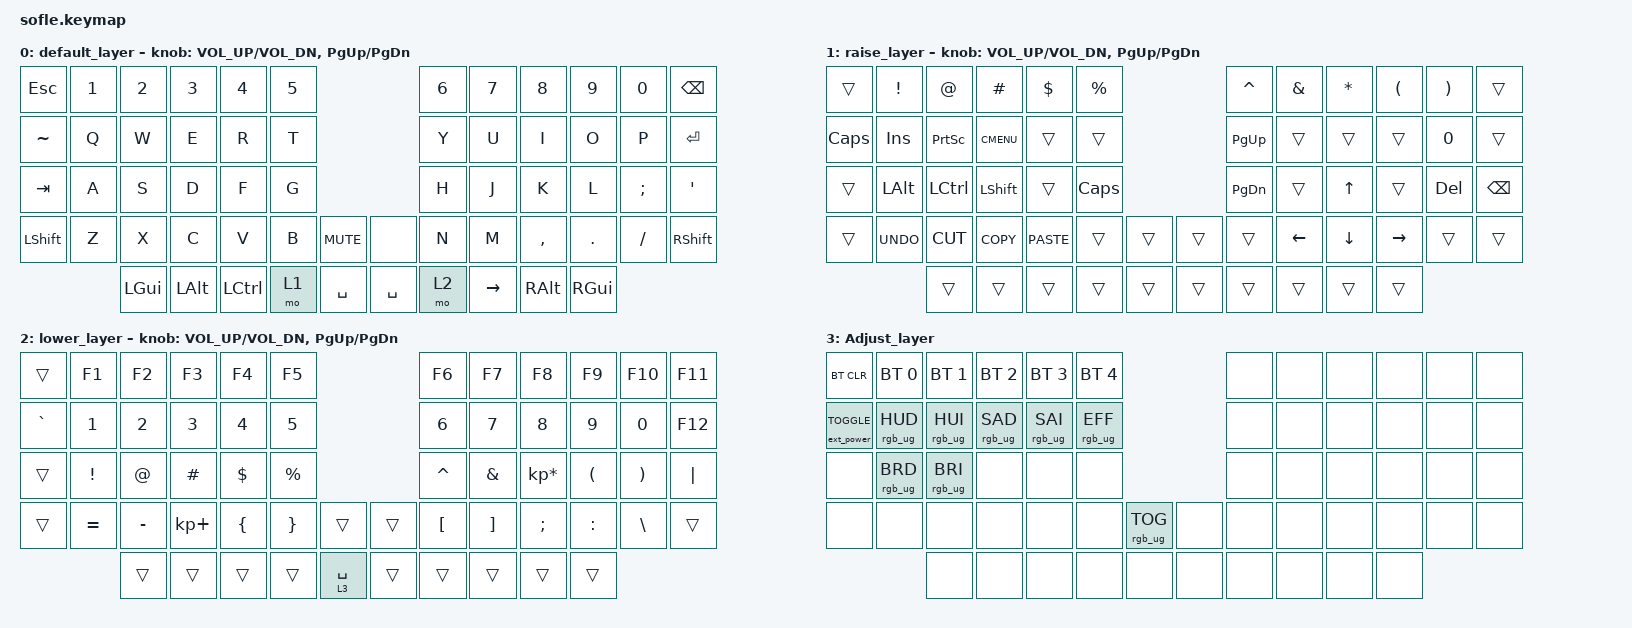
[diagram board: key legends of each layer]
/*
 * Copyright (c) 2020 The ZMK Contributors
 *
 * SPDX-License-Identifier: MIT
 */

#include <behaviors.dtsi>
#include <dt-bindings/zmk/bt.h>
#include <dt-bindings/zmk/ext_power.h>
#include <dt-bindings/zmk/keys.h>
#include <dt-bindings/zmk/rgb.h>

#define BASE 0
#define LOWER 1
#define RAISE 2
#define ADJUST 3

/ {
    // Activate ADJUST layer by pressing raise and lower

    conditional_layers {
        compatible = "zmk,conditional-layers";

        adjust_layer {
            if-layers = <2 1>;
            then-layer = <3>;
        };
    };

    keymap {
        compatible = "zmk,keymap";

        default_layer {
            // ------------------------------------------------------------------------------------------------------------
            // |  `    |  1  |  2  |  3   |  4   |  5   |                   |  6   |  7    |  8    |  9   |   0   |       |
            // |  ESC  |  Q  |  W  |  E   |  R   |  T   |                   |  Y   |  U    |  I    |  O   |   P   | BKSPC |
            // |  TAB  |  A  |  S  |  D   |  F   |  G   |                   |  H   |  J    |  K    |  L   |   ;   |   '   |
            // | SHIFT |  Z  |  X  |  C   |  V   |  B   |  MUTE  |  |       |  N   |  M    |  ,    |  .   |   /   | SHIFT |
            //               | GUI | ALT  | CTRL | LOWER|  ENTER |  | SPACE | RAISE| CTRL  | ALT   | GUI  |

            bindings = <
&kp ESC    &kp N1  &kp N2    &kp N3    &kp N4     &kp N5                           &kp N6  &kp N7           &kp N8     &kp N9    &kp N0    &kp BACKSPACE
&kp TILDE  &kp Q   &kp W     &kp E     &kp R      &kp T                            &kp Y   &kp U            &kp I      &kp O     &kp P     &kp RETURN
&kp TAB    &kp A   &kp S     &kp D     &kp F      &kp G                            &kp H   &kp J            &kp K      &kp L     &kp SEMI  &kp SQT
&kp LSHFT  &kp Z   &kp X     &kp C     &kp V      &kp B   &kp C_MUTE    &none      &kp N   &kp M            &kp COMMA  &kp DOT   &kp FSLH  &kp RSHFT
                   &kp LGUI  &kp LALT  &kp LCTRL  &mo 1   &kp SPACE     &kp SPACE  &mo 2   &kp RIGHT_ARROW  &kp RALT   &kp RGUI
            >;

            sensor-bindings = <&inc_dec_kp C_VOL_UP C_VOL_DN &inc_dec_kp PG_UP PG_DN>;
        };

        raise_layer {
            // ------------------------------------------------------------------------------------------------------------
            // |BTCLR| BT1  | BT2  |  BT3  |  BT4  |  BT5 |                |      |      |       |      |       |       |
            // |     | INS  | PSCR | GUI   |       |      |                | PGUP |      |   ^   |      |       |       |
            // |     | ALT  | CTRL | SHIFT |       | CAPS |                | PGDN |   <- |   v   |  ->  |  DEL  | BKSPC |
            // |     | UNDO | CUT  | COPY  | PASTE |      |      |  |      |      |      |       |      |       |       |
            //              |      |       |       |      |      |  |      |      |      |       |      |

            bindings = <
&trans        &kp EXCLAMATION  &kp AT_SIGN  &kp HASH     &kp DOLLAR   &kp PERCENT                    &kp CARET  &kp AMPERSAND  &kp ASTERISK  &kp LEFT_PARENTHESIS  &kp RIGHT_PARENTHESIS  &trans
&kp CAPSLOCK  &kp INS          &kp PSCRN    &kp K_CMENU  &trans       &trans                         &kp PG_UP  &trans         &trans        &trans                &kp N0                 &trans
&trans        &kp LALT         &kp LCTRL    &kp LSHFT    &trans       &kp CLCK                       &kp PG_DN  &trans         &kp UP_ARROW  &trans                &kp DEL                &kp BSPC
&trans        &kp K_UNDO       &kp K_CUT    &kp K_COPY   &kp K_PASTE  &trans       &trans    &trans  &trans     &kp LEFT       &kp DOWN      &kp RIGHT             &trans                 &trans
                               &trans       &trans       &trans       &trans       &trans    &trans  &trans     &trans         &trans        &trans
            >;

            sensor-bindings = <&inc_dec_kp C_VOL_UP C_VOL_DN &inc_dec_kp PG_UP PG_DN>;
        };

        lower_layer {
            // TODO: Some binds are waiting for shifted keycode support.
            // ------------------------------------------------------------------------------------------------------------
            // |       |  F1 |  F2 |  F3  |  F4  |  F5  |                   |  F6  |  F7   |  F8   |  F9  |  F10  |  F11  |
            // | `     |   1 |   2 |   3  |   4  |   5  |                   |   6  |   7   |   8   |   9  |    0  |  F12  |
            // |       |  !  |  @  |  #   |  $   |  %   |                   |  ^   |  &    |  *    |  (   |   )   |   |   |
            // |       |  =  |  -  |  +   |  {   |  }   |        |  |       |  [   |  ]    |  ;    |  :   |   \   |       |
            //               |     |      |      |      |        |  |       |      |       |       |      |

            bindings = <
&trans     &kp F1     &kp F2     &kp F3       &kp F4    &kp F5                            &kp F6     &kp F7    &kp F8           &kp F9     &kp F10   &kp F11
&kp GRAVE  &kp N1     &kp N2     &kp N3       &kp N4    &kp N5                            &kp N6     &kp N7    &kp N8           &kp N9     &kp N0    &kp F12
&trans     &kp EXCL   &kp AT     &kp HASH     &kp DLLR  &kp PRCNT                         &kp CARET  &kp AMPS  &kp KP_MULTIPLY  &kp LPAR   &kp RPAR  &kp PIPE
&trans     &kp EQUAL  &kp MINUS  &kp KP_PLUS  &kp LBRC  &kp RBRC   &trans         &trans  &kp LBKT   &kp RBKT  &kp SEMI         &kp COLON  &kp BSLH  &trans
                      &trans     &trans       &trans    &trans     &lt 3 SPACE    &trans  &trans     &trans    &trans           &trans
            >;

            sensor-bindings = <&inc_dec_kp C_VOL_UP C_VOL_DN &inc_dec_kp PG_UP PG_DN>;
        };

        Adjust_layer {
            bindings = <
&bt BT_CLR                       &bt BT_SEL 0     &bt BT_SEL 1     &bt BT_SEL 2     &bt BT_SEL 3     &bt BT_SEL 4                               &none  &none  &none  &none  &none  &none
&ext_power EXT_POWER_TOGGLE_CMD  &rgb_ug RGB_HUD  &rgb_ug RGB_HUI  &rgb_ug RGB_SAD  &rgb_ug RGB_SAI  &rgb_ug RGB_EFF                            &none  &none  &none  &none  &none  &none
&none                            &rgb_ug RGB_BRD  &rgb_ug RGB_BRI  &none            &none            &none                                      &none  &none  &none  &none  &none  &none
&none                            &none            &none            &none            &none            &none            &rgb_ug RGB_TOG    &none  &none  &none  &none  &none  &none  &none
                                                  &none            &none            &none            &none            &none              &none  &none  &none  &none  &none
            >;
        };
    };
};
